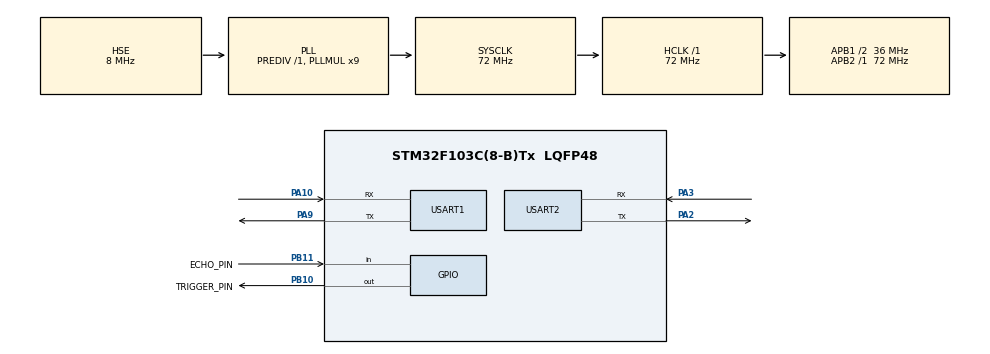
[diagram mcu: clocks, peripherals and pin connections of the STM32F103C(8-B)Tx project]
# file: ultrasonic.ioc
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Mcu.Family=STM32F1
Mcu.Name=STM32F103C(8-B)Tx
Mcu.Package=LQFP48
NVIC.PriorityGroup=NVIC_PRIORITYGROUP_4
NVIC.USART1_IRQn=true\:0\:0\:false\:false\:true\:true\:true
NVIC.USART2_IRQn=true\:0\:0\:false\:false\:true\:true\:true
PA10.Mode=Asynchronous
PA10.Signal=USART1_RX
PA2.Mode=Asynchronous
PA2.Signal=USART2_TX
PA3.Mode=Asynchronous
PA3.Signal=USART2_RX
PA9.Mode=Asynchronous
PA9.Signal=USART1_TX
PB10.GPIO_Label=TRIGGER_PIN
PB10.Signal=GPIO_Output
PB11.GPIO_Label=ECHO_PIN
PB11.Signal=GPIO_Input
PD0-OSC_IN.Mode=HSE-External-Oscillator
PD0-OSC_IN.Signal=RCC_OSC_IN
PD1-OSC_OUT.Mode=HSE-External-Oscillator
PD1-OSC_OUT.Signal=RCC_OSC_OUT
ProjectManager.HeapSize=0x200
ProjectManager.StackSize=0x400
ProjectManager.TargetToolchain=STM32CubeIDE
RCC.AHBFreq_Value=72000000
RCC.APB1CLKDivider=RCC_HCLK_DIV2
RCC.APB1Freq_Value=36000000
RCC.APB1TimFreq_Value=72000000
RCC.APB2Freq_Value=72000000
RCC.APB2TimFreq_Value=72000000
RCC.HCLKFreq_Value=72000000
RCC.PLLMUL=RCC_PLL_MUL9
RCC.PLLSourceVirtual=RCC_PLLSOURCE_HSE
RCC.SYSCLKFreq_VALUE=72000000
RCC.SYSCLKSource=RCC_SYSCLKSOURCE_PLLCLK
RCC.USBFreq_Value=72000000
TIM1.Period=0xffff-1
TIM1.Prescaler=72-1
USART1.VirtualMode=VM_ASYNC
USART2.VirtualMode=VM_ASYNC
VP_SYS_VS_ND.Mode=No_Debug
VP_TIM1_VS_ClockSourceINT.Mode=Internal
board=custom

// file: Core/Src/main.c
/* USER CODE BEGIN Header */
/**
  ******************************************************************************
  * @file           : main.c
  * @brief          : Main program body
  ******************************************************************************
  * @attention
  *
  * <h2><center>&copy; Copyright (c) 2020 STMicroelectronics.
  * All rights reserved.</center></h2>
  *
  * This software component is licensed by ST under BSD 3-Clause license,
  * the "License"; You may not use this file except in compliance with the
  * License. You may obtain a copy of the License at:
  *                        opensource.org/licenses/BSD-3-Clause
  *
  ******************************************************************************
  */
/* USER CODE END Header */

#include "main.h"
#include "tim.h"
#include "usart.h"
#include "gpio.h"

/* USER CODE BEGIN Includes */
#include <stdlib.h>
#include <string.h>
#include <stdio.h>
#include <assert.h>
#include <stdint.h>
#include "../../HCSR04/hcsr04.h"
/* USER CODE END Includes */

/* USER CODE BEGIN PV */
uint8_t data[100];
/* USER CODE END PV */

void SystemClock_Config(void);

int main(void)
{

  /* MCU Configuration--------------------------------------------------------*/

  /* Reset of all peripherals, Initializes the Flash interface and the Systick. */
  HAL_Init();

  /* Configure the system clock */
  SystemClock_Config();

  /* Initialize all configured peripherals */
  MX_GPIO_Init();
  MX_TIM1_Init();
  MX_USART1_UART_Init();
  MX_USART2_UART_Init();
  /* USER CODE BEGIN 2 */
  HAL_TIM_Base_Start(&htim1);
  /* USER CODE END 2 */

  /* Infinite loop */
  while (1)
  {

    /* USER CODE BEGIN 3 */
    serialPrint("Getting distance data\n");
    uint32_t u_timer = getUltrasonicTime();
    snprintf((char *)data, sizeof(data), "Timer: %lu \n", u_timer);
    serialPrint((char *)data);
    uint32_t distance = getDistance(u_timer);
    snprintf((char *)data, sizeof(data), "Distance: %lu \n", distance);
    serialPrint((char *)data);
    HAL_Delay(1000);
  }
  /* USER CODE END 3 */
}

void SystemClock_Config(void)
{
  RCC_OscInitTypeDef RCC_OscInitStruct = {0};
  RCC_ClkInitTypeDef RCC_ClkInitStruct = {0};

  /** Initializes the CPU, AHB and APB busses clocks
  */
  RCC_OscInitStruct.OscillatorType = RCC_OSCILLATORTYPE_HSE;
  RCC_OscInitStruct.HSEState = RCC_HSE_ON;
  RCC_OscInitStruct.HSEPredivValue = RCC_HSE_PREDIV_DIV1;
  RCC_OscInitStruct.HSIState = RCC_HSI_ON;
  RCC_OscInitStruct.PLL.PLLState = RCC_PLL_ON;
  RCC_OscInitStruct.PLL.PLLSource = RCC_PLLSOURCE_HSE;
  RCC_OscInitStruct.PLL.PLLMUL = RCC_PLL_MUL9;
  if (HAL_RCC_OscConfig(&RCC_OscInitStruct) != HAL_OK)
  {
    Error_Handler();
  }
  /** Initializes the CPU, AHB and APB busses clocks
  */
  RCC_ClkInitStruct.ClockType = RCC_CLOCKTYPE_HCLK|RCC_CLOCKTYPE_SYSCLK
                              |RCC_CLOCKTYPE_PCLK1|RCC_CLOCKTYPE_PCLK2;
  RCC_ClkInitStruct.SYSCLKSource = RCC_SYSCLKSOURCE_PLLCLK;
  RCC_ClkInitStruct.AHBCLKDivider = RCC_SYSCLK_DIV1;
  RCC_ClkInitStruct.APB1CLKDivider = RCC_HCLK_DIV2;
  RCC_ClkInitStruct.APB2CLKDivider = RCC_HCLK_DIV1;

  if (HAL_RCC_ClockConfig(&RCC_ClkInitStruct, FLASH_LATENCY_2) != HAL_OK)
  {
    Error_Handler();
  }
}

/* USER CODE BEGIN 4 */
int serialPrint(const char *string_format, ...)
{
  if (DEVEL)
  {
    return printf(string_format);
  }
  else
  {
    return 0;
  }
}

int __io_putchar(uint8_t ch)
{
  if (ch)
  {
    UART1PutChar(ch);
    return ch;
  }
  else
  {
    return 0;
  }

}

void delayMicroseconds(uint16_t microseconds)
{
  __HAL_TIM_SET_COUNTER(&htim1, 0);
  while(__HAL_TIM_GET_COUNTER(&htim1) < microseconds);
}

/* USER CODE END 4 */

void Error_Handler(void)
{
}

/************************ (C) COPYRIGHT STMicroelectronics *****END OF FILE****/
